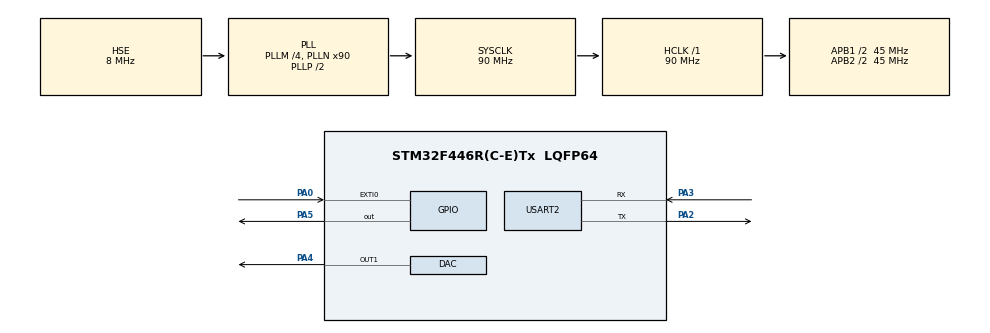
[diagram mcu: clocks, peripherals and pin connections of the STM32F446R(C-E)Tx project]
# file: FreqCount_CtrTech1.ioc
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DAC.DAC_Trigger=DAC_TRIGGER_T2_TRGO
Mcu.Family=STM32F4
Mcu.Name=STM32F446R(C-E)Tx
Mcu.Package=LQFP64
NVIC.EXTI0_IRQn=true\:0\:0\:false\:false\:true\:true\:true
NVIC.PriorityGroup=NVIC_PRIORITYGROUP_0
NVIC.TIM3_IRQn=true\:0\:0\:false\:false\:true\:true\:true
NVIC.USART2_IRQn=true\:0\:0\:false\:false\:true\:true\:true
PA0-WKUP.Signal=GPXTI0
PA2.Mode=Asynchronous
PA2.Signal=USART2_TX
PA3.Mode=Asynchronous
PA3.Signal=USART2_RX
PA4.Signal=COMP_DAC1_group
PA5.Signal=GPIO_Output
PH0-OSC_IN.Mode=HSE-External-Oscillator
PH0-OSC_IN.Signal=RCC_OSC_IN
PH1-OSC_OUT.Mode=HSE-External-Oscillator
PH1-OSC_OUT.Signal=RCC_OSC_OUT
ProjectManager.HeapSize=0x200
ProjectManager.StackSize=0x400
ProjectManager.TargetToolchain=STM32CubeIDE
RCC.AHBFreq_Value=90000000
RCC.APB1CLKDivider=RCC_HCLK_DIV2
RCC.APB1Freq_Value=45000000
RCC.APB1TimFreq_Value=90000000
RCC.APB2CLKDivider=RCC_HCLK_DIV2
RCC.APB2Freq_Value=45000000
RCC.APB2TimFreq_Value=90000000
RCC.CortexFreq_Value=90000000
RCC.FLatency-AdvancedSettings=FLASH_LATENCY_2
RCC.HCLKFreq_Value=90000000
RCC.HSE_VALUE=8000000
RCC.HSI_VALUE=16000000
RCC.LSE_VALUE=32768
RCC.PLLM=4
RCC.PLLN=90
RCC.PLLSourceVirtual=RCC_PLLSOURCE_HSE
RCC.SYSCLKFreq_VALUE=90000000
RCC.SYSCLKSource=RCC_SYSCLKSOURCE_PLLCLK
RCC.USBFreq_Value=90000000
RCC.VCOOutputFreq_Value=180000000
SH.COMP_DAC1_group.0=DAC_OUT1,DAC_OUT1
TIM2.Period=0xffffffff
TIM2.Prescaler=90-1
TIM3.Period=0xffff
TIM3.Prescaler=45-1
USART2.VirtualMode=VM_ASYNC
VP_TIM2_VS_ClockSourceINT.Mode=Internal
VP_TIM3_VS_ClockSourceINT.Mode=Internal
board=NUCLEO-F446RE

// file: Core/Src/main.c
/* USER CODE BEGIN Header */
/**
 ******************************************************************************
 * @file           : main.c
 * @brief          : Main program body
 ******************************************************************************
 * @attention
 *
 * <h2><center>&copy; Copyright (c) 2020 STMicroelectronics.
 * All rights reserved.</center></h2>
 *
 * This software component is licensed by ST under BSD 3-Clause license,
 * the "License"; You may not use this file except in compliance with the
 * License. You may obtain a copy of the License at:
 *                        opensource.org/licenses/BSD-3-Clause
 *
 ******************************************************************************
 */
/* USER CODE END Header */

#include "main.h"

/* USER CODE BEGIN Includes */
#include "freqIO.h"
/* USER CODE END Includes */

DAC_HandleTypeDef hdac;

TIM_HandleTypeDef htim2;
TIM_HandleTypeDef htim3;

UART_HandleTypeDef huart2;

void SystemClock_Config(void);
static void MX_GPIO_Init(void);
static void MX_TIM2_Init(void);
static void MX_USART2_UART_Init(void);
static void MX_DAC_Init(void);
static void MX_TIM3_Init(void);

int main(void) {
	/* USER CODE BEGIN 1 */
	//gets a raw memory block,suitable for a Data Type, and sets as memory address
	/* USER CODE END 1 */

	/* MCU Configuration--------------------------------------------------------*/

	/* Reset of all peripherals, Initializes the Flash interface and the Systick. */
	HAL_Init();

	/* Configure the system clock */
	SystemClock_Config();

	/* Initialize all configured peripherals */
	MX_GPIO_Init();
	MX_TIM2_Init();
	MX_USART2_UART_Init();
	MX_DAC_Init();
	MX_TIM3_Init();
	/* USER CODE BEGIN 2 */
	HAL_TIM_Base_Start(&htim2);
	HAL_TIM_Base_Start_IT(&htim3);

	get_sineval();
	edit_sineval(lowFrequency, LOWF);
	edit_sineval(highFrequency, HIGHF);
	bool bitStream[10];

	bitStream[0] = 1;
	bitStream[1] = 1;
	bitStream[2] = 1;
	bitStream[3] = 0;
	bitStream[4] = 0;
	bitStream[5] = 0;
	bitStream[6] = 1;
	bitStream[7] = 0;
	bitStream[8] = 0;
	bitStream[9] = 0;
	HAL_DAC_Start_DMA(&hdac, DAC_CHANNEL_1, highFrequency, HIGHF,
	DAC_ALIGN_12B_R);
	HAL_Delay(500);
	HAL_DAC_Stop_DMA(&hdac, DAC_CHANNEL_1);
	/* USER CODE END 2 */

	/* Infinite loop */
	while (1) {

		/* USER CODE BEGIN 3 */

		for (int i = 0; i < BUFFERSIZE; i++) {
			sprintf(uartData, "Bit value for index %d = %d\r\n", i,
					freqtobit(periodBuffer[i]));
			HAL_UART_Transmit(&huart2, uartData, strlen(uartData), 10);
		}

		//bitToAudio(&bitStream,10);
	}
	/* USER CODE END 3 */
}

void SystemClock_Config(void) {
	RCC_OscInitTypeDef RCC_OscInitStruct = { 0 };
	RCC_ClkInitTypeDef RCC_ClkInitStruct = { 0 };

	/** Configure the main internal regulator output voltage
	 */
	__HAL_RCC_PWR_CLK_ENABLE();
	__HAL_PWR_VOLTAGESCALING_CONFIG(PWR_REGULATOR_VOLTAGE_SCALE3);
	/** Initializes the CPU, AHB and APB busses clocks
	 */
	RCC_OscInitStruct.OscillatorType = RCC_OSCILLATORTYPE_HSE;
	RCC_OscInitStruct.HSEState = RCC_HSE_ON;
	RCC_OscInitStruct.PLL.PLLState = RCC_PLL_ON;
	RCC_OscInitStruct.PLL.PLLSource = RCC_PLLSOURCE_HSE;
	RCC_OscInitStruct.PLL.PLLM = 4;
	RCC_OscInitStruct.PLL.PLLN = 90;
	RCC_OscInitStruct.PLL.PLLP = RCC_PLLP_DIV2;
	RCC_OscInitStruct.PLL.PLLQ = 2;
	RCC_OscInitStruct.PLL.PLLR = 2;
	if (HAL_RCC_OscConfig(&RCC_OscInitStruct) != HAL_OK) {
		Error_Handler();
	}
	/** Initializes the CPU, AHB and APB busses clocks
	 */
	RCC_ClkInitStruct.ClockType = RCC_CLOCKTYPE_HCLK | RCC_CLOCKTYPE_SYSCLK
			| RCC_CLOCKTYPE_PCLK1 | RCC_CLOCKTYPE_PCLK2;
	RCC_ClkInitStruct.SYSCLKSource = RCC_SYSCLKSOURCE_PLLCLK;
	RCC_ClkInitStruct.AHBCLKDivider = RCC_SYSCLK_DIV1;
	RCC_ClkInitStruct.APB1CLKDivider = RCC_HCLK_DIV2;
	RCC_ClkInitStruct.APB2CLKDivider = RCC_HCLK_DIV2;

	if (HAL_RCC_ClockConfig(&RCC_ClkInitStruct, FLASH_LATENCY_2) != HAL_OK) {
		Error_Handler();
	}
}

static void MX_DAC_Init(void) {

	DAC_ChannelConfTypeDef sConfig = { 0 };

	/** DAC Initialization
	 */
	hdac.Instance = DAC;
	if (HAL_DAC_Init(&hdac) != HAL_OK) {
		Error_Handler();
	}
	/** DAC channel OUT1 config
	 */
	sConfig.DAC_Trigger = DAC_TRIGGER_T2_TRGO;
	sConfig.DAC_OutputBuffer = DAC_OUTPUTBUFFER_ENABLE;
	if (HAL_DAC_ConfigChannel(&hdac, &sConfig, DAC_CHANNEL_1) != HAL_OK) {
		Error_Handler();
	}

}

static void MX_TIM2_Init(void) {

	TIM_ClockConfigTypeDef sClockSourceConfig = { 0 };
	TIM_MasterConfigTypeDef sMasterConfig = { 0 };

	htim2.Instance = TIM2;
	htim2.Init.Prescaler = 9 - 1;
	htim2.Init.CounterMode = TIM_COUNTERMODE_UP;
	htim2.Init.Period = 10000 - 1;
	htim2.Init.ClockDivision = TIM_CLOCKDIVISION_DIV1;
	htim2.Init.AutoReloadPreload = TIM_AUTORELOAD_PRELOAD_DISABLE;
	if (HAL_TIM_Base_Init(&htim2) != HAL_OK) {
		Error_Handler();
	}
	sClockSourceConfig.ClockSource = TIM_CLOCKSOURCE_INTERNAL;
	if (HAL_TIM_ConfigClockSource(&htim2, &sClockSourceConfig) != HAL_OK) {
		Error_Handler();
	}
	sMasterConfig.MasterOutputTrigger = TIM_TRGO_RESET;
	sMasterConfig.MasterSlaveMode = TIM_MASTERSLAVEMODE_DISABLE;
	if (HAL_TIMEx_MasterConfigSynchronization(&htim2, &sMasterConfig)
			!= HAL_OK) {
		Error_Handler();
	}

}

static void MX_TIM3_Init(void) {

	TIM_ClockConfigTypeDef sClockSourceConfig = { 0 };
	TIM_MasterConfigTypeDef sMasterConfig = { 0 };

	htim3.Instance = TIM3;
	htim3.Init.Prescaler = 45 - 1;
	htim3.Init.CounterMode = TIM_COUNTERMODE_UP;
	htim3.Init.Period = 0xffff;
	htim3.Init.ClockDivision = TIM_CLOCKDIVISION_DIV1;
	htim3.Init.AutoReloadPreload = TIM_AUTORELOAD_PRELOAD_DISABLE;
	if (HAL_TIM_Base_Init(&htim3) != HAL_OK) {
		Error_Handler();
	}
	sClockSourceConfig.ClockSource = TIM_CLOCKSOURCE_INTERNAL;
	if (HAL_TIM_ConfigClockSource(&htim3, &sClockSourceConfig) != HAL_OK) {
		Error_Handler();
	}
	sMasterConfig.MasterOutputTrigger = TIM_TRGO_RESET;
	sMasterConfig.MasterSlaveMode = TIM_MASTERSLAVEMODE_DISABLE;
	if (HAL_TIMEx_MasterConfigSynchronization(&htim3, &sMasterConfig)
			!= HAL_OK) {
		Error_Handler();
	}

}

static void MX_USART2_UART_Init(void) {

	huart2.Instance = USART2;
	huart2.Init.BaudRate = 115200;
	huart2.Init.WordLength = UART_WORDLENGTH_8B;
	huart2.Init.StopBits = UART_STOPBITS_1;
	huart2.Init.Parity = UART_PARITY_NONE;
	huart2.Init.Mode = UART_MODE_TX_RX;
	huart2.Init.HwFlowCtl = UART_HWCONTROL_NONE;
	huart2.Init.OverSampling = UART_OVERSAMPLING_16;
	if (HAL_UART_Init(&huart2) != HAL_OK) {
		Error_Handler();
	}

}

static void MX_GPIO_Init(void) {
	GPIO_InitTypeDef GPIO_InitStruct = { 0 };

	/* GPIO Ports Clock Enable */
	__HAL_RCC_GPIOH_CLK_ENABLE();
	__HAL_RCC_GPIOA_CLK_ENABLE();

	/*Configure GPIO pin Output Level */
	HAL_GPIO_WritePin(GPIOA, GPIO_PIN_5, GPIO_PIN_RESET);

	/*Configure GPIO pin : PA0 */
	GPIO_InitStruct.Pin = GPIO_PIN_0;
	GPIO_InitStruct.Mode = GPIO_MODE_IT_RISING_FALLING;
	GPIO_InitStruct.Pull = GPIO_NOPULL;
	HAL_GPIO_Init(GPIOA, &GPIO_InitStruct);

	/*Configure GPIO pin : PA5 */
	GPIO_InitStruct.Pin = GPIO_PIN_5;
	GPIO_InitStruct.Mode = GPIO_MODE_OUTPUT_PP;
	GPIO_InitStruct.Pull = GPIO_NOPULL;
	GPIO_InitStruct.Speed = GPIO_SPEED_FREQ_LOW;
	HAL_GPIO_Init(GPIOA, &GPIO_InitStruct);

	/* EXTI interrupt init*/
	HAL_NVIC_SetPriority(EXTI0_IRQn, 0, 0);
	HAL_NVIC_EnableIRQ(EXTI0_IRQn);

}

/* USER CODE BEGIN 4 */
void HAL_TIM_PeriodElapsedCallback(TIM_HandleTypeDef *htim) {
	if (htim == &htim3)
		Tim3IT();
	else
		__NOP();
}
void HAL_GPIO_EXTI_Callback(uint16_t GPIO_Pin) {
	if (GPIO_Pin == GPIO_PIN_0) {
		FreqCounterPinEXTI();
	} else
		__NOP();
}

/* USER CODE END 4 */

void Error_Handler(void) {
}

/************************ (C) COPYRIGHT STMicroelectronics *****END OF FILE****/
